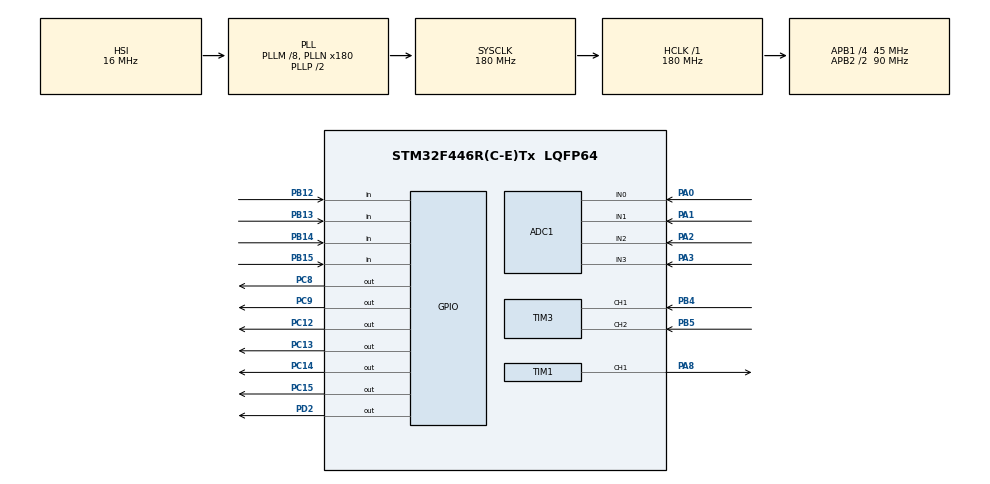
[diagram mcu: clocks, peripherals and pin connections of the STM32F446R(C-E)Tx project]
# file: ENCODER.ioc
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ADC1.Channel-0\#ChannelRegularConversion=ADC_CHANNEL_0
ADC1.Channel-1\#ChannelRegularConversion=ADC_CHANNEL_1
ADC1.Channel-2\#ChannelRegularConversion=ADC_CHANNEL_2
ADC1.Channel-3\#ChannelRegularConversion=ADC_CHANNEL_3
ADC1.DMAContinuousRequests=ENABLE
ADC1.ExternalTrigConv=ADC_EXTERNALTRIGCONV_T8_TRGO
ADC1.NbrOfConversion=4
ADC1.NbrOfConversionFlag=1
ADC1.Rank-0\#ChannelRegularConversion=1
ADC1.Rank-1\#ChannelRegularConversion=2
ADC1.Rank-2\#ChannelRegularConversion=3
ADC1.Rank-3\#ChannelRegularConversion=4
ADC1.SamplingTime-0\#ChannelRegularConversion=ADC_SAMPLETIME_15CYCLES
ADC1.SamplingTime-1\#ChannelRegularConversion=ADC_SAMPLETIME_15CYCLES
ADC1.SamplingTime-2\#ChannelRegularConversion=ADC_SAMPLETIME_15CYCLES
ADC1.SamplingTime-3\#ChannelRegularConversion=ADC_SAMPLETIME_15CYCLES
ADC1.ScanConvMode=ENABLE
ADC1.master=1
Dma.ADC1.0.Direction=DMA_PERIPH_TO_MEMORY
Dma.ADC1.0.FIFOMode=DMA_FIFOMODE_DISABLE
Dma.ADC1.0.Instance=DMA2_Stream0
Dma.ADC1.0.MemDataAlignment=DMA_MDATAALIGN_WORD
Dma.ADC1.0.MemInc=DMA_MINC_ENABLE
Dma.ADC1.0.Mode=DMA_CIRCULAR
Dma.ADC1.0.PeriphDataAlignment=DMA_PDATAALIGN_WORD
Dma.ADC1.0.PeriphInc=DMA_PINC_DISABLE
Dma.ADC1.0.Priority=DMA_PRIORITY_LOW
Dma.Request0=ADC1
Mcu.Family=STM32F4
Mcu.Name=STM32F446R(C-E)Tx
Mcu.Package=LQFP64
NVIC.DMA2_Stream0_IRQn=true\:0\:0\:false\:false\:true\:false\:true\:true
NVIC.PriorityGroup=NVIC_PRIORITYGROUP_4
NVIC.TIM1_BRK_TIM9_IRQn=true\:0\:0\:false\:false\:true\:true\:true\:true
NVIC.TIM1_CC_IRQn=true\:0\:0\:false\:false\:true\:true\:true\:true
NVIC.TIM1_TRG_COM_TIM11_IRQn=true\:0\:0\:false\:false\:true\:true\:true\:true
NVIC.TIM1_UP_TIM10_IRQn=true\:0\:0\:false\:false\:true\:true\:true\:true
NVIC.TIM6_DAC_IRQn=true\:0\:0\:false\:false\:true\:true\:true\:true
NVIC.TIM8_UP_TIM13_IRQn=true\:0\:0\:false\:false\:true\:true\:true\:true
PA0-WKUP.Signal=ADCx_IN0
PA1.Signal=ADCx_IN1
PA13.Mode=Serial_Wire
PA13.Signal=SYS_JTMS-SWDIO
PA14.Mode=Serial_Wire
PA14.Signal=SYS_JTCK-SWCLK
PA2.Signal=ADCx_IN2
PA3.Signal=ADCx_IN3
PA8.Signal=S_TIM1_CH1
PB12.Signal=GPIO_Input
PB13.Signal=GPIO_Input
PB14.Signal=GPIO_Input
PB15.Signal=GPIO_Input
PB4.GPIO_PuPd=GPIO_PULLUP
PB4.Signal=S_TIM3_CH1
PB5.GPIO_PuPd=GPIO_PULLUP
PB5.Signal=S_TIM3_CH2
PB8.Signal=S_TIM2_CH1_ETR
PB9.Signal=S_TIM2_CH2
PC12.Signal=GPIO_Output
PC13.Signal=GPIO_Output
PC14-OSC32_IN.Signal=GPIO_Output
PC15-OSC32_OUT.Signal=GPIO_Output
PC8.Signal=GPIO_Output
PC9.Signal=GPIO_Output
PD2.Signal=GPIO_Output
PH0-OSC_IN.Mode=HSE-External-Oscillator
PH0-OSC_IN.Signal=RCC_OSC_IN
PH1-OSC_OUT.Mode=HSE-External-Oscillator
PH1-OSC_OUT.Signal=RCC_OSC_OUT
ProjectManager.HeapSize=0x200
ProjectManager.StackSize=0x400
ProjectManager.TargetToolchain=STM32CubeIDE
RCC.AHBFreq_Value=180000000
RCC.APB1CLKDivider=RCC_HCLK_DIV4
RCC.APB1Freq_Value=45000000
RCC.APB1TimFreq_Value=90000000
RCC.APB2CLKDivider=RCC_HCLK_DIV2
RCC.APB2Freq_Value=90000000
RCC.APB2TimFreq_Value=180000000
RCC.CortexFreq_Value=180000000
RCC.HCLKFreq_Value=180000000
RCC.HSE_VALUE=16000000
RCC.PLLM=8
RCC.PLLN=180
RCC.SYSCLKFreq_VALUE=180000000
RCC.SYSCLKSource=RCC_SYSCLKSOURCE_PLLCLK
RCC.USBFreq_Value=180000000
RCC.VCOOutputFreq_Value=360000000
SH.ADCx_IN0.0=ADC1_IN0,IN0
SH.ADCx_IN1.0=ADC1_IN1,IN1
SH.ADCx_IN2.0=ADC1_IN2,IN2
SH.ADCx_IN3.0=ADC1_IN3,IN3
SH.S_TIM1_CH1.0=TIM1_CH1,PWM Generation1 CH1
SH.S_TIM2_CH1_ETR.0=TIM2_CH1
SH.S_TIM2_CH2.0=TIM2_CH2
SH.S_TIM3_CH1.0=TIM3_CH1,Encoder_Interface
SH.S_TIM3_CH2.0=TIM3_CH2,Encoder_Interface
TIM1.Channel-PWM\ Generation1\ CH1=TIM_CHANNEL_1
TIM1.Period=1000-1
TIM1.Prescaler=9-1
TIM3.EncoderMode=TIM_ENCODERMODE_TI12
TIM3.IC1Filter=5
TIM3.IC2Filter=5
TIM6.Period=5000-1
TIM6.Prescaler=4500-1
TIM8.Period=10000-1
TIM8.Prescaler=180-1
TIM8.TIM_MasterOutputTrigger=TIM_TRGO_UPDATE
VP_TIM6_VS_ClockSourceINT.Mode=Enable_Timer
VP_TIM8_VS_ClockSourceINT.Mode=Internal
board=custom

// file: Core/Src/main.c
/* USER CODE BEGIN Header */
/**
  ******************************************************************************
  * @file           : main.c
  * @brief          : Main program body
  ******************************************************************************
  * @attention
  *
  * Copyright (c) 2024 STMicroelectronics.
  * All rights reserved.
  *
  * This software is licensed under terms that can be found in the LICENSE file
  * in the root directory of this software component.
  * If no LICENSE file comes with this software, it is provided AS-IS.
  *
  ******************************************************************************
  */
/* USER CODE END Header */
#include "main.h"
#include "adc.h"
#include "dma.h"
#include "tim.h"
#include "gpio.h"

/* USER CODE BEGIN PV */

uint32_t encoder_value=0;
double variable1=0.0003;
double variable2=0.0005;
uint32_t previous_encoder_value;
uint32_t current_encoder_value;
uint32_t max_encoder_value=previous_encoder_value;

/* USER CODE END PV */

void SystemClock_Config(void);

int main(void)
{

  /* MCU Configuration--------------------------------------------------------*/

  /* Reset of all peripherals, Initializes the Flash interface and the Systick. */
  HAL_Init();

  /* Configure the system clock */
  SystemClock_Config();

  /* Initialize all configured peripherals */
  MX_GPIO_Init();
  MX_DMA_Init();
  MX_ADC1_Init();
  MX_TIM8_Init();
  MX_TIM6_Init();
  MX_TIM1_Init();
  MX_TIM3_Init();
  /* USER CODE BEGIN 2 */

    HAL_TIM_PWM_Start(&htim1, TIM_CHANNEL_1);
    HAL_TIMEx_PWMN_Start(&htim1, TIM_CHANNEL_1);
    HAL_TIM_Encoder_Start(&htim3, TIM_CHANNEL_ALL);

  /* USER CODE END 2 */

  /* Infinite loop */
  while (1)
  {

    /* USER CODE BEGIN 3 */

	  encoder_value = TIM3->CNT;
	  if(HAL_GPIO_ReadPin(GPIOB, GPIO_PIN_14))
	  {
	  previous_encoder_value=encoder_value;
	  TIM1->CCR1=0;
	  HAL_Delay(1000);
	  encoder_value = TIM3->CNT;
	  current_encoder_value=encoder_value;
	  NumOp_GetDiff(current_encoder_value,previous_encoder_value ,65535);
	  }

	  if(HAL_GPIO_ReadPin(GPIOB, GPIO_PIN_12))
	  {
	  previous_encoder_value=encoder_value;
      HAL_GPIO_WritePin(GPIOC, GPIO_PIN_8, 0);
	  TIM1->CCR1=1000000*variable1;
	  HAL_Delay(1000);
	  encoder_value = TIM3->CNT;
	  current_encoder_value=encoder_value;
	  NumOp_GetDiff(current_encoder_value,previous_encoder_value ,65535);
	  }

	  if(HAL_GPIO_ReadPin(GPIOB, GPIO_PIN_15))
	  {
		  previous_encoder_value=encoder_value;
	  HAL_GPIO_WritePin(GPIOC, GPIO_PIN_8, 1);
	  TIM1->CCR1=1000000*variable1;
	  HAL_Delay(1000);
	  encoder_value = TIM3->CNT;
	  current_encoder_value=encoder_value;
	  NumOp_GetDiff(current_encoder_value,previous_encoder_value ,65535);
	  }

	 if(HAL_GPIO_ReadPin(GPIOB, GPIO_PIN_13))
	  {
		 previous_encoder_value=encoder_value;
	  TIM1->CCR1=1000000*variable2;
	  HAL_Delay(1000);
	  encoder_value = TIM3->CNT;
	  current_encoder_value=encoder_value;
	  NumOp_GetDiff(current_encoder_value,previous_encoder_value ,65535);
	  }

  }
  /* USER CODE END 3 */
}

void SystemClock_Config(void)
{
  RCC_OscInitTypeDef RCC_OscInitStruct = {0};
  RCC_ClkInitTypeDef RCC_ClkInitStruct = {0};

  /** Configure the main internal regulator output voltage
  */
  __HAL_RCC_PWR_CLK_ENABLE();
  __HAL_PWR_VOLTAGESCALING_CONFIG(PWR_REGULATOR_VOLTAGE_SCALE1);

  /** Initializes the RCC Oscillators according to the specified parameters
  * in the RCC_OscInitTypeDef structure.
  */
  RCC_OscInitStruct.OscillatorType = RCC_OSCILLATORTYPE_HSI;
  RCC_OscInitStruct.HSIState = RCC_HSI_ON;
  RCC_OscInitStruct.HSICalibrationValue = RCC_HSICALIBRATION_DEFAULT;
  RCC_OscInitStruct.PLL.PLLState = RCC_PLL_ON;
  RCC_OscInitStruct.PLL.PLLSource = RCC_PLLSOURCE_HSI;
  RCC_OscInitStruct.PLL.PLLM = 8;
  RCC_OscInitStruct.PLL.PLLN = 180;
  RCC_OscInitStruct.PLL.PLLP = RCC_PLLP_DIV2;
  RCC_OscInitStruct.PLL.PLLQ = 2;
  RCC_OscInitStruct.PLL.PLLR = 2;
  if (HAL_RCC_OscConfig(&RCC_OscInitStruct) != HAL_OK)
  {
    Error_Handler();
  }

  /** Activate the Over-Drive mode
  */
  if (HAL_PWREx_EnableOverDrive() != HAL_OK)
  {
    Error_Handler();
  }

  /** Initializes the CPU, AHB and APB buses clocks
  */
  RCC_ClkInitStruct.ClockType = RCC_CLOCKTYPE_HCLK|RCC_CLOCKTYPE_SYSCLK
                              |RCC_CLOCKTYPE_PCLK1|RCC_CLOCKTYPE_PCLK2;
  RCC_ClkInitStruct.SYSCLKSource = RCC_SYSCLKSOURCE_PLLCLK;
  RCC_ClkInitStruct.AHBCLKDivider = RCC_SYSCLK_DIV1;
  RCC_ClkInitStruct.APB1CLKDivider = RCC_HCLK_DIV4;
  RCC_ClkInitStruct.APB2CLKDivider = RCC_HCLK_DIV2;

  if (HAL_RCC_ClockConfig(&RCC_ClkInitStruct, FLASH_LATENCY_5) != HAL_OK)
  {
    Error_Handler();
  }
}

/* USER CODE BEGIN 4 */
int32_t NumOp_GetDiff(uint32_t curr, uint32_t prev, uint32_t max)
{
	int32_t diff = 0;
	const uint32_t half_max = max/2;
	diff = (int32_t)curr - (int32_t)prev;
	diff += half_max;
	if(diff < 0)
	{
		diff += max;
	}
	diff %= max;
	diff -= half_max;
	return diff;
}

/* USER CODE END 4 */

void Error_Handler(void)
{
  __disable_irq();
  while (1)
  {
  }
}
